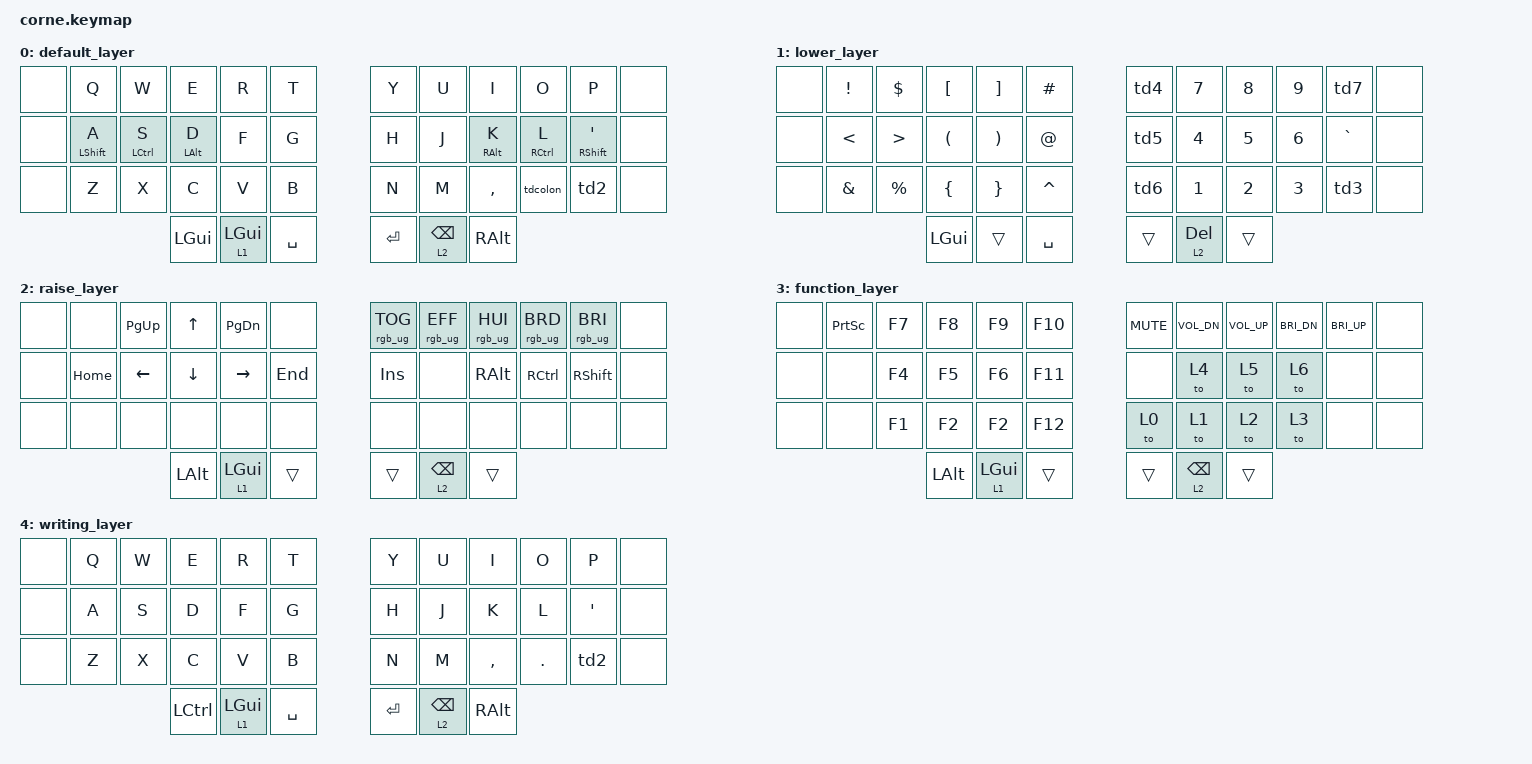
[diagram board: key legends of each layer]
/*
 * Copyright (c) 2020 The ZMK Contributors
 *
 * SPDX-License-Identifier: MIT
 */

#include <behaviors.dtsi>
#include <dt-bindings/zmk/keys.h>
#include <dt-bindings/zmk/bt.h>
#include <dt-bindings/zmk/outputs.h>
#include <dt-bindings/zmk/rgb.h>

/ {
        
        combos {
                compatible = "zmk,combos";
                combo_tab {
                        timeout-ms = <50>;
                        key-positions = <7 8>;
                        bindings = <&kp TAB>;
                };

                combo_esc {
                        timeout-ms = <50>;
                        key-positions = <1 2>;
                        bindings = <&kp ESC>;
                };

                combo_caps {
                        timeout-ms = <50>;
                        key-positions = <13 22>;
                        bindings = <&kp CAPS>;
                };

                combo_semicolon {
                        timeout-ms = <50>;
                        key-positions = <32 33>;
                        bindings = <&kp SEMI>;
                };

                combo_tolayer_0 {
                        timeout-ms = <150>;
                        key-positions = <13 14 15 30>;
                        bindings = <&to 0>;
                };

                combo_tolayer_1 {
                        timeout-ms = <150>;
                        key-positions = <13 14 15 31>;
                        bindings = <&to 1>;
                };

                combo_tolayer_2 {
                        timeout-ms = <150>;
                        key-positions = <13 14 15 32>;
                        bindings = <&to 2>;
                };

                combo_tolayer_3 {
                        timeout-ms = <150>;
                        key-positions = <13 14 15 33>;
                        bindings = <&to 3>;
                };

                combo_tolayer_4 {
                        timeout-ms = <150>;
                        key-positions = <13 14 15 19>;
                        bindings = <&to 4>;
                };

                combo_tolayer_5 {
                        timeout-ms = <150>;
                        key-positions = <13 14 15 20>;
                        bindings = <&to 5>;
                };

                combo_tolayer_6 {
                        timeout-ms = <150>;
                        key-positions = <13 14 15 21>;
                        bindings = <&to 6>;
                };

                combo_output_toggle {
                        timeout-ms = <200>;
                        key-positions = <36 37 38 39 40 41>;
                        bindings = <&out OUT_TOG>;
                };
        };


        behaviors {

                bhm: balanced_homerow_mods {
                        compatible = "zmk,behavior-hold-tap";
                        #binding-cells = <2>;
                        tapping-term-ms = <200>;    // <---[[moderate duration]]
                        quick-tap-ms = <0>;
                        flavor = "balanced";
                        bindings = <&kp>, <&kp>;
                };

                lt_impl: layer-tap-by-hold-tap {
                        compatible = "zmk,behavior-hold-tap";
                        label = "LAYER_TAP_BY_HOLD_TAP";
                        #binding-cells = <2>;
                        tapping-term-ms = <200>;
                        quick-tap-ms = <0>;
                        flavor = "tap-preferred";
                        bindings = <&mo>, <&kp>;
                };

                td1: tap_dance_1 {
                        compatible = "zmk,behavior-tap-dance";
                        label = "TAP_DANCE_1";
                        #binding-cells = <0>;
                        tapping-term-ms = <200>;
                        bindings = <&mt LCTRL TAB>, <&kp ESC>;
                };

                td2: tap_dance_2 {
                        compatible = "zmk,behavior-tap-dance";
                        label = "TAP_DANCE_SLASH";
                        #binding-cells = <0>;
                        tapping-term-ms = <300>;
                        bindings = <&kp FSLH>, <&kp BSLH>;
                };

                td3: tap_dance_3 {
                        compatible = "zmk,behavior-tap-dance";
                        label = "TAP_DANCE_TRATTINO";
                        #binding-cells = <0>;
                        tapping-term-ms = <300>;
                        bindings = <&kp MINUS>, <&kp UNDER>;
                };

                td4: tap_dance_4 {
                        compatible = "zmk,behavior-tap-dance";
                        label = "TAP_DANCE_PLUS";
                        #binding-cells = <0>;
                        tapping-term-ms = <250>;
                        bindings = <&kp PLUS>, <&kp STAR>;
                };

                td5: tap_dance_5 {
                        compatible = "zmk,behavior-tap-dance";
                        label = "TAP_DANCE_MINUS";
                        #binding-cells = <0>;
                        tapping-term-ms = <300>;
                        bindings = <&kp MINUS>, <&kp FSLH>;                       
                };

                td6: tap_dance_6 {
                        compatible = "zmk,behavior-tap-dance";
                        label = "TAP_DANCE_ZERO";
                        #binding-cells = <0>;
                        tapping-term-ms = <250>;
                        bindings = <&kp KP_N0>, <&kp EQUAL>;                        
                };

                td7: tap_dance_7 {
                        compatible = "zmk,behavior-tap-dance";
                        label = "TAP_DANCE_LTGT";
                        #binding-cells = <0>;
                        tapping-term-ms = <250>;
                        bindings = <&kp LT>, <&kp GT>;
                };

                tdcolon: tap_dance_colon {
                        compatible = "zmk,behavior-tap-dance";
                        label = "TAP_DANCE_COLON";
                        #binding-cells = <0>;
                        tapping-term-ms = <250>;
                        bindings = <&kp DOT>, <&kp COLON>;
                };
        };

        conditional_layers {
                compatible = "zmk,conditional-layers";
                tri_layer {
                if-layers = <1 2>;
                then-layer = <3>;
                };
        };



        keymap {
                compatible = "zmk,keymap";

                default_layer {
// -----------------------------------------------------------------------------------------
// |   0  |  Q  |  W  |  E  |  R  |  T  |5   6|  Y  |  U   |  I  |  O  |  P  |  11  |
// |  12  |  A  |  S  |  D  |  F  |  G  |17 18|  H  |  J   |  K  |  L  |  '  |  23  |
// |  24  |  Z  |  X  |  C  |  V  |  B  |29 30|  N  |  M   |  ,  |  .  |  /  |  35  |
//                  36| GUI | L2  | SPC |38 39| ENT |  L1  | ALT |41

                        bindings = <
        &none   &kp Q           &kp W           &kp E           &kp R           &kp T           &kp Y           &kp U           &kp I           &kp O           &kp P                   &none
        &none   &bhm LSHIFT A    &bhm LCTRL S     &bhm LALT D      &kp F           &kp G           &kp H           &kp J           &bhm RALT K      &bhm RCTRL L     &bhm RSHIFT APOS         &none
        &none   &kp Z           &kp X           &kp C           &kp V           &kp B           &kp N           &kp M           &kp COMMA       &tdcolon         &td2                    &none
                        &kp LGUI                &lt_impl 1 LGUI              &kp SPACE                       &kp RET                 &lt_impl 2 BSPC         &kp RALT
                        >;
                };

                lower_layer {
// -----------------------------------------------------------------------------------------
// |      |  !  |  $  |  [  |  ]  |  #  |   | + * |  7  |  8  |  9  | < > |      |
// |      |  <  |  >  |  (  |  )  |  @  |   | - / |  4  |  5  |  6  |GRAVE|      |
// |      |  &  |  %  |  {  |  }  |  =  |   | 0 = |  1  |  2  |  3  | - _ |      |
//                    |     |     |     |   |     |     |     |

                        bindings = <
        &none   &kp EXCL  &kp DLLR   &kp LBKT    &kp RBKT   &kp HASH           &td4    &kp N7    &kp N8    &kp N9    &td7        &none
        &none   &kp LT    &kp GT     &kp LPAR    &kp RPAR   &kp AT             &td5    &kp N4    &kp N5    &kp N6    &kp GRAVE   &none
        &none   &kp AMPS  &kp PRCNT  &kp LBRC    &kp RBRC   &kp CARET          &td6    &kp N1    &kp N2    &kp N3    &td3        &none
                         &kp LGUI     &trans       &kp SPACE                            &trans  &lt_impl 2 DEL   &trans
                        >;
                };


                raise_layer {
// -----------------------------------------------------------------------------------------
// |      |     | PGUP|  UP |PGDWN|     |   |RGBon|EFF  |HUE  |BRT- |BRT+ |      |
// |      |INIZ | LFT | DWN | RGHT|FINE |   | INS |LCLK |RCLK |     |SCRLK|      |
// |      |     |     |     |     |     |   |  _  |     |     |     |     |      |
//                    | GUI |     | SPC |   | ENT |     | ALT |

                        bindings = <
   &none  &none         &kp PAGE_UP     &kp UP          &kp PAGE_DOWN   &none                  &rgb_ug RGB_TOG  &rgb_ug RGB_EFF  &rgb_ug RGB_HUI  &rgb_ug RGB_BRD  &rgb_ug RGB_BRI  &none
   &none  &kp HOME      &kp LEFT        &kp DOWN        &kp RIGHT       &kp END                &kp INS  &none    &kp RALT  &kp RCTRL   &kp RSHIFT   &none
   &none  &none         &none           &none           &none           &none                  &none    &none    &none     &none       &none        &none 
                                        &kp LALT  &lt_impl 1 LGUI  &trans                                     &trans   &lt_impl 2 BSPC     &trans
                        >;
                };


                function_layer {
                        bindings = <
   &none  &kp PRINTSCREEN &kp F7  &kp F8  &kp F9  &kp F10             &kp C_MUTE     &kp C_VOL_DN    &kp C_VOL_UP   &kp C_BRI_DN     &kp C_BRI_UP  &none
   &none  &none           &kp F4  &kp F5  &kp F6  &kp F11             &none          &to 4           &to 5          &to 6          &none         &none        
   &none  &none           &kp F1  &kp F2  &kp F2  &kp F12             &to 0          &to 1           &to 2          &to 3          &none         &none 
                       &kp LALT  &lt_impl 1 LGUI  &trans                           &trans   &lt_impl 2 BSPC     &trans
                        >;
                };                


                
                writing_layer {
                        bindings = <
        &none   &kp Q  &kp W   &kp E    &kp R    &kp T           &kp Y    &kp U    &kp I        &kp O      &kp P      &none
        &none   &kp A  &kp S   &kp D    &kp F    &kp G           &kp H    &kp J    &kp K        &kp L      &kp APOS   &none
        &none   &kp Z  &kp X   &kp C    &kp V    &kp B           &kp N    &kp M    &kp COMMA    &kp DOT    &td2       &none
                 &kp LCTRL   &lt_impl 1 LGUI   &kp SPACE                       &kp RET    &lt_impl 2 BSPC    &kp RALT
                        >;
                };


        };
};

